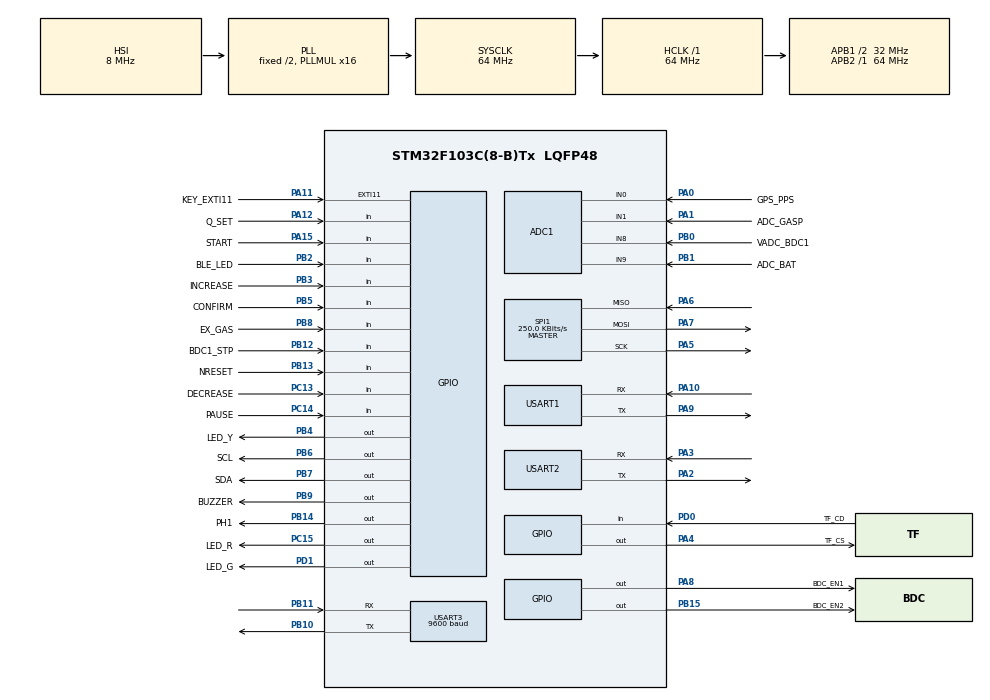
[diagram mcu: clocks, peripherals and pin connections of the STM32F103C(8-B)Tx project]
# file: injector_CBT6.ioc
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ADC1.Channel-0\#ChannelRegularConversion=ADC_CHANNEL_0
ADC1.Channel-1\#ChannelRegularConversion=ADC_CHANNEL_1
ADC1.Channel-2\#ChannelRegularConversion=ADC_CHANNEL_8
ADC1.Channel-3\#ChannelRegularConversion=ADC_CHANNEL_9
ADC1.ContinuousConvMode=ENABLE
ADC1.NbrOfConversion=4
ADC1.NbrOfConversionFlag=1
ADC1.Rank-0\#ChannelRegularConversion=1
ADC1.Rank-1\#ChannelRegularConversion=2
ADC1.Rank-2\#ChannelRegularConversion=3
ADC1.Rank-3\#ChannelRegularConversion=4
ADC1.SamplingTime-0\#ChannelRegularConversion=ADC_SAMPLETIME_13CYCLES_5
ADC1.SamplingTime-1\#ChannelRegularConversion=ADC_SAMPLETIME_13CYCLES_5
ADC1.SamplingTime-2\#ChannelRegularConversion=ADC_SAMPLETIME_13CYCLES_5
ADC1.SamplingTime-3\#ChannelRegularConversion=ADC_SAMPLETIME_13CYCLES_5
ADC1.master=1
Dma.ADC1.0.Direction=DMA_PERIPH_TO_MEMORY
Dma.ADC1.0.Instance=DMA1_Channel1
Dma.ADC1.0.MemDataAlignment=DMA_MDATAALIGN_HALFWORD
Dma.ADC1.0.MemInc=DMA_MINC_ENABLE
Dma.ADC1.0.Mode=DMA_CIRCULAR
Dma.ADC1.0.PeriphDataAlignment=DMA_PDATAALIGN_HALFWORD
Dma.ADC1.0.PeriphInc=DMA_PINC_DISABLE
Dma.ADC1.0.Priority=DMA_PRIORITY_LOW
Dma.Request0=ADC1
Dma.Request1=USART3_RX
Dma.USART3_RX.1.Direction=DMA_PERIPH_TO_MEMORY
Dma.USART3_RX.1.Instance=DMA1_Channel3
Dma.USART3_RX.1.MemDataAlignment=DMA_MDATAALIGN_BYTE
Dma.USART3_RX.1.MemInc=DMA_MINC_ENABLE
Dma.USART3_RX.1.Mode=DMA_NORMAL
Dma.USART3_RX.1.PeriphDataAlignment=DMA_PDATAALIGN_BYTE
Dma.USART3_RX.1.PeriphInc=DMA_PINC_DISABLE
Dma.USART3_RX.1.Priority=DMA_PRIORITY_LOW
Mcu.Family=STM32F1
Mcu.Name=STM32F103C(8-B)Tx
Mcu.Package=LQFP48
NVIC.ADC1_2_IRQn=true\:12\:0\:true\:false\:true\:true\:true\:true
NVIC.DMA1_Channel1_IRQn=true\:6\:0\:true\:false\:true\:false\:true\:true
NVIC.DMA1_Channel3_IRQn=true\:0\:0\:false\:false\:true\:false\:true\:true
NVIC.EXTI15_10_IRQn=true\:10\:0\:true\:false\:true\:true\:true\:true
NVIC.PriorityGroup=NVIC_PRIORITYGROUP_4
NVIC.TIM3_IRQn=true\:13\:0\:true\:false\:true\:true\:true\:true
NVIC.TIM4_IRQn=true\:13\:0\:true\:false\:true\:true\:true\:true
NVIC.USART2_IRQn=true\:0\:0\:false\:false\:true\:true\:true\:true
NVIC.USART3_IRQn=true\:0\:0\:false\:false\:true\:true\:true\:true
PA0-WKUP.GPIO_Label=GPS_PPS
PA0-WKUP.Signal=ADCx_IN0
PA1.GPIO_Label=ADC_GASP
PA1.Signal=ADCx_IN1
PA10.Mode=Asynchronous
PA10.Signal=USART1_RX
PA11.GPIO_Label=KEY_EXTI11
PA11.GPIO_ModeDefaultEXTI=GPIO_MODE_IT_RISING_FALLING
PA11.Signal=GPXTI11
PA12.GPIO_Label=Q_SET
PA12.Signal=GPIO_Input
PA13.Mode=Serial_Wire
PA13.Signal=SYS_JTMS-SWDIO
PA14.Mode=Serial_Wire
PA14.Signal=SYS_JTCK-SWCLK
PA15.GPIO_Label=START
PA15.Signal=GPIO_Input
PA2.Mode=Asynchronous
PA2.Signal=USART2_TX
PA3.Mode=Asynchronous
PA3.Signal=USART2_RX
PA4.GPIO_Label=TF_CS
PA4.PinState=GPIO_PIN_SET
PA4.Signal=GPIO_Output
PA5.Mode=Full_Duplex_Master
PA5.Signal=SPI1_SCK
PA6.Mode=Full_Duplex_Master
PA6.Signal=SPI1_MISO
PA7.Mode=Full_Duplex_Master
PA7.Signal=SPI1_MOSI
PA8.GPIO_Label=BDC_EN1
PA8.Signal=GPIO_Output
PA9.Mode=Asynchronous
PA9.Signal=USART1_TX
PB0.GPIO_Label=VADC_BDC1
PB0.Signal=ADCx_IN8
PB1.GPIO_Label=ADC_BAT
PB1.Signal=ADCx_IN9
PB10.Mode=Asynchronous
PB10.Signal=USART3_TX
PB11.Mode=Asynchronous
PB11.Signal=USART3_RX
PB12.GPIO_Label=BDC1_STP
PB12.Signal=GPIO_Input
PB13.GPIO_Label=NRESET
PB13.Signal=GPIO_Input
PB14.GPIO_Label=PH1
PB14.Signal=GPIO_Output
PB15.GPIO_Label=BDC_EN2
PB15.Signal=GPIO_Output
PB2.GPIO_Label=BLE_LED
PB2.Signal=GPIO_Input
PB3.GPIO_Label=INCREASE
PB3.Signal=GPIO_Input
PB4.GPIO_Label=LED_Y
PB4.Signal=GPIO_Output
PB5.GPIO_Label=CONFIRM
PB5.GPIO_PuPd=GPIO_PULLDOWN
PB5.Signal=GPIO_Input
PB6.GPIO_Label=SCL
PB6.Signal=GPIO_Output
PB7.GPIO_Label=SDA
PB7.GPIO_ModeDefaultOutputPP=GPIO_MODE_OUTPUT_OD
PB7.GPIO_PuPd=GPIO_PULLUP
PB7.Signal=GPIO_Output
PB8.GPIO_Label=EX_GAS
PB8.Signal=GPIO_Input
PB9.GPIO_Label=BUZZER
PB9.Signal=GPIO_Output
PC13-TAMPER-RTC.GPIO_Label=DECREASE
PC13-TAMPER-RTC.Signal=GPIO_Input
PC14-OSC32_IN.GPIO_Label=PAUSE
PC14-OSC32_IN.Signal=GPIO_Input
PC15-OSC32_OUT.GPIO_Label=LED_R
PC15-OSC32_OUT.Signal=GPIO_Output
PD0-OSC_IN.GPIO_Label=TF_CD
PD0-OSC_IN.GPIO_PuPd=GPIO_PULLUP
PD0-OSC_IN.Signal=GPIO_Input
PD1-OSC_OUT.GPIO_Label=LED_G
PD1-OSC_OUT.GPIO_PuPd=GPIO_PULLUP
PD1-OSC_OUT.Signal=GPIO_Output
ProjectManager.HeapSize=0x400
ProjectManager.StackSize=0x400
ProjectManager.TargetToolchain=STM32CubeIDE
RCC.ADCPresc=RCC_ADCPCLK2_DIV8
RCC.AHBFreq_Value=64000000
RCC.APB1CLKDivider=RCC_HCLK_DIV2
RCC.APB1Freq_Value=32000000
RCC.APB1TimFreq_Value=64000000
RCC.APB2Freq_Value=64000000
RCC.APB2TimFreq_Value=64000000
RCC.HCLKFreq_Value=64000000
RCC.PLLMUL=RCC_PLL_MUL16
RCC.SYSCLKFreq_VALUE=64000000
RCC.SYSCLKSource=RCC_SYSCLKSOURCE_PLLCLK
RCC.USBFreq_Value=64000000
SH.ADCx_IN0.0=ADC1_IN0,IN0
SH.ADCx_IN1.0=ADC1_IN1,IN1
SH.ADCx_IN8.0=ADC1_IN8,IN8
SH.ADCx_IN9.0=ADC1_IN9,IN9
SPI1.BaudRatePrescaler=SPI_BAUDRATEPRESCALER_256
SPI1.CalculateBaudRate=250.0 KBits/s
SPI1.Direction=SPI_DIRECTION_2LINES
SPI1.Mode=SPI_MODE_MASTER
SPI1.VirtualType=VM_MASTER
TIM3.AutoReloadPreload=TIM_AUTORELOAD_PRELOAD_ENABLE
TIM3.Period=1000-1
TIM3.Prescaler=6400-1
TIM4.AutoReloadPreload=TIM_AUTORELOAD_PRELOAD_ENABLE
TIM4.Period=1000-1
TIM4.Prescaler=64-1
USART1.VirtualMode=VM_ASYNC
USART2.VirtualMode=VM_ASYNC
USART3.BaudRate=9600
USART3.VirtualMode=VM_ASYNC
VP_TIM3_VS_ClockSourceINT.Mode=Internal
VP_TIM4_VS_ClockSourceINT.Mode=Internal
board=custom

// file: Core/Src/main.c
/* USER CODE BEGIN Header */
/**
  ******************************************************************************
  * @file           : main.c
  * @brief          : Main program body
  ******************************************************************************
  * @attention
  *
  * Copyright (c) 2024 STMicroelectronics.
  * All rights reserved.
  *
  * This software is licensed under terms that can be found in the LICENSE file
  * in the root directory of this software component.
  * If no LICENSE file comes with this software, it is provided AS-IS.
  *
  ******************************************************************************
  */
/* USER CODE END Header */
#include "main.h"
#include "adc.h"
#include "dma.h"
#include "spi.h"
#include "tim.h"
#include "usart.h"
#include "gpio.h"

/* USER CODE BEGIN Includes */
#include "stdio.h"
#include "string.h"
#include "key.h"
#include "motor.h"
#include "AD24C02.h"
#include "GPS.h"
#include "ff.h"
#include "SD_APP.h"
#include "battery_show.h"
#include "dosage.h"
#include "HMI.h"
/* USER CODE END Includes */

/* USER CODE BEGIN PV */
BLE_Status BLE_conn_sta = 0;
extern uint8_t _estack, _Min_Stack_Size;
/* USER CODE END PV */

void SystemClock_Config(void);

int main(void)
{

  /* MCU Configuration--------------------------------------------------------*/

  /* Reset of all peripherals, Initializes the Flash interface and the Systick. */
  HAL_Init();

  /* Configure the system clock */
  SystemClock_Config();

  /* Initialize all configured peripherals */
  MX_GPIO_Init();
  MX_DMA_Init();
  MX_ADC1_Init();
  MX_SPI1_Init();
  MX_TIM3_Init();
  MX_TIM4_Init();
  MX_USART1_UART_Init();
  MX_USART2_UART_Init();
  MX_USART3_UART_Init();
  /* USER CODE BEGIN 2 */
  HAL_ADCEx_Calibration_Start(&hadc1);
  HAL_ADC_Start_DMA(&hadc1,(uint32_t*)ADC_rslt, 4);
  __HAL_DMA_DISABLE_IT(&hdma_adc1, DMA_IT_HT);
  HAL_Delay(10);

  HAL_TIM_Base_Start_IT(&htim3);
  HAL_TIM_Base_Start_IT(&htim4);
  HAL_Delay(10);

  HMI_init();
  HAL_Delay(100);

  Motor_init();
  first_run_clcDos = 1;
  first_run = 1;

  READOUT_SAVE_DATA();
  AD24C02_DataCheck();
  HAL_Delay(10);

  page_location = Main_page;
  HAL_UART_Receive_DMA(&huart3, &gps_rx_buffer[0], 1); // 启动接收
  SDCard_states = SDCard_InsertCheck();

  HAL_Delay(1500);
  if(SDCard_states == 0){
    CSV_sheet_Init();
  }else{
//  	printf("CSV file initialization failed!\r\n");
  }

  AD24C02_Read2Byte(CSV_LAST_LINE_ADDRESS, &csv_crt_line_No);//读取最后一次保存的行号
//  printf("System Initialized\r\n");
  /* USER CODE END 2 */

  /* Infinite loop */
  /* USER CODE BEGIN WHILE */
  while (1)
  {
//检测SD卡是否插入----------------------------------------------------------
  	static uint16_t i = 0,t = 0;
  	if(i++ >=10000){
		if(SDCard_states != 0 || !SD_INSERT){
			SDCard_states = SDCard_InsertCheck();
			HAL_GPIO_WritePin(LED_Y_GPIO_Port, LED_Y_Pin, GPIO_PIN_SET);
		}
		else if(SDCard_states == 0){
			HAL_GPIO_WritePin(LED_Y_GPIO_Port, LED_Y_Pin, GPIO_PIN_RESET);
		}
		i = 0;
  	}
//检测蓝牙、GPS连接状态----------------------------------------------------------
  	if(t++ >=20000){
  		t = 0;
  		BLE_conn_sta = check_ble_status();
  		if(BLE_conn_sta == BLE_CONNECTED){
			sprintf(Tx_Buffer,"Main.p2.pic=5\xff\xff\xff");
			USART1_Tx_HMIdata((uint8_t*)Tx_Buffer);
			HAL_Delay(100);
			sprintf(Tx_Buffer,"File_M.p1.pic=5\xff\xff\xff");
			USART1_Tx_HMIdata((uint8_t*)Tx_Buffer);
			HAL_Delay(100);
  		}
  		else{
			sprintf(Tx_Buffer,"Main.p2.pic=6\xff\xff\xff");
			USART1_Tx_HMIdata((uint8_t*)Tx_Buffer);
			HAL_Delay(100);
			sprintf(Tx_Buffer,"File_M.p1.pic=6\xff\xff\xff");
			USART1_Tx_HMIdata((uint8_t*)Tx_Buffer);
			HAL_Delay(100);
  		}

  		GPS_status_display();
  	}
//打药----------------------------------------------------------------------
  	if(page_location == Main_page){
  	  	if(Injecting){
  			sprintf(Tx_Buffer,"Main.t0.txt=\"正在注药\"\xff\xff\xff");
  			USART1_Tx_HMIdata((uint8_t*)Tx_Buffer);

  			if(first_run_clcDos == 1){
  				Inject_times(Dosage_load);
  				first_run_clcDos = 0;
  			}
  			Inject_working();
  		}
  	//排气----------------------------------------------------------------------
  		else
  		if(!Injecting && EX_GAS_start){
  				while(!Injecting && EX_GAS_start)
  					Ex_GAS_Cycle();
  		}

	  //清空计数------------------------------------
		if(clear_counter){
			clear_counter = 0;
			Refresh_Dosage();
			HAL_GPIO_WritePin(LED_R_GPIO_Port, LED_R_Pin,GPIO_PIN_SET);
			HAL_Delay(300);
			HAL_GPIO_WritePin(LED_R_GPIO_Port, LED_R_Pin,GPIO_PIN_RESET);
		}

  		Set_Dosage();
  	}

//文件管理------------------------------------------------------------------
  	else
  	if(page_location == File_M_page){
		if(refresh_dir || first_display_dir){//刷新文件列表
			Cache_File_List();
			Refresh_Display();
			scroll_focus_line();
			first_display_dir = 0;
			refresh_dir = 0;
		}

		switch(key_code){//文件页面按键功能
			case KEY_CANCEL:
				Back_to_MainPage();
				break;
			case KEY_CONFIRM:
				page_turning();
				break;
			case KEY_DELETE:
				On_Delete_Key_Pressed();
				break;
			case KEY_SENDFILE:
				sendFile_key_pressed();
				break;
			default:
				break;
		}
		key_code = KEY_NULL;

		if(dir_display_refresh){//刷新光标位置
			scroll_focus_line();
			dir_display_refresh = 0;
		}
  	}
    /* USER CODE END WHILE */

    /* USER CODE BEGIN 3 */

  }//while(1)
  /* USER CODE END 3 */
}//main()

void SystemClock_Config(void)
{
  RCC_OscInitTypeDef RCC_OscInitStruct = {0};
  RCC_ClkInitTypeDef RCC_ClkInitStruct = {0};
  RCC_PeriphCLKInitTypeDef PeriphClkInit = {0};

  /** Initializes the RCC Oscillators according to the specified parameters
  * in the RCC_OscInitTypeDef structure.
  */
  RCC_OscInitStruct.OscillatorType = RCC_OSCILLATORTYPE_HSI;
  RCC_OscInitStruct.HSIState = RCC_HSI_ON;
  RCC_OscInitStruct.HSICalibrationValue = RCC_HSICALIBRATION_DEFAULT;
  RCC_OscInitStruct.PLL.PLLState = RCC_PLL_ON;
  RCC_OscInitStruct.PLL.PLLSource = RCC_PLLSOURCE_HSI_DIV2;
  RCC_OscInitStruct.PLL.PLLMUL = RCC_PLL_MUL16;
  if (HAL_RCC_OscConfig(&RCC_OscInitStruct) != HAL_OK)
  {
    Error_Handler();
  }

  /** Initializes the CPU, AHB and APB buses clocks
  */
  RCC_ClkInitStruct.ClockType = RCC_CLOCKTYPE_HCLK|RCC_CLOCKTYPE_SYSCLK
                              |RCC_CLOCKTYPE_PCLK1|RCC_CLOCKTYPE_PCLK2;
  RCC_ClkInitStruct.SYSCLKSource = RCC_SYSCLKSOURCE_PLLCLK;
  RCC_ClkInitStruct.AHBCLKDivider = RCC_SYSCLK_DIV1;
  RCC_ClkInitStruct.APB1CLKDivider = RCC_HCLK_DIV2;
  RCC_ClkInitStruct.APB2CLKDivider = RCC_HCLK_DIV1;

  if (HAL_RCC_ClockConfig(&RCC_ClkInitStruct, FLASH_LATENCY_2) != HAL_OK)
  {
    Error_Handler();
  }
  PeriphClkInit.PeriphClockSelection = RCC_PERIPHCLK_ADC;
  PeriphClkInit.AdcClockSelection = RCC_ADCPCLK2_DIV8;
  if (HAL_RCCEx_PeriphCLKConfig(&PeriphClkInit) != HAL_OK)
  {
    Error_Handler();
  }
}

void Error_Handler(void)
{
  __disable_irq();
  while (1)
  {
  }
}
